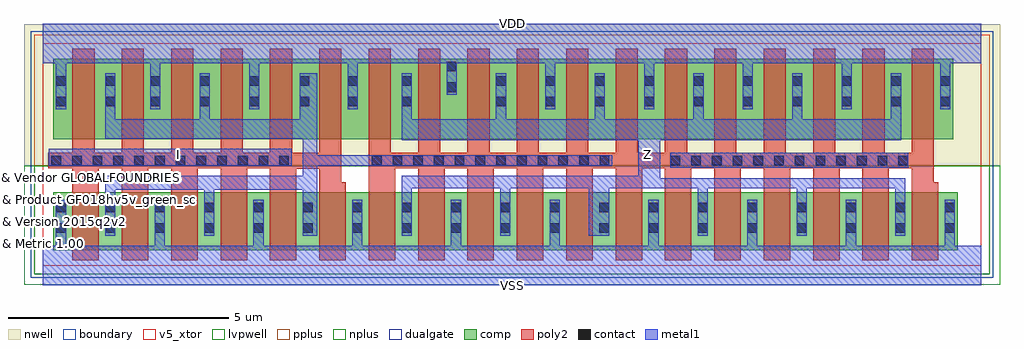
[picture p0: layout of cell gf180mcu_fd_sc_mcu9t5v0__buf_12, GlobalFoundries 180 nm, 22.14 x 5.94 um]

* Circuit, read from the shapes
.subckt gf180mcu_fd_sc_mcu9t5v0__buf_12 I VDD VSS Z
XM1 n1 I VSS VSUBS nfet_05v0 w=1.32u l=0.6u m=6
XM2 Z n1 VSS VSUBS nfet_05v0 w=1.32u l=0.6u m=12
XM3 n1 I VDD n2 pfet_05v0 w=1.83u l=0.5u m=6
XM4 Z n1 VDD n2 pfet_05v0 w=1.83u l=0.5u m=12
.ends

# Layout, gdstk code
import gdstk
lib = gdstk.Library(unit=1e-6, precision=1e-09)
def R(c, l, rs):  # rectangles x0, y0, x1, y1
    for r in rs: c.add(gdstk.rectangle(r[:2], r[2:], *l))
def A(c, l, x, y, w, h, nx, ny, dx, dy):  # array of equal rectangles
    R(c, l, [(x+i*dx, y+j*dy, x+i*dx+w, y+j*dy+h) for i in range(nx) for j in range(ny)])
def P(c, l, *ps):  # polygons
    for p in ps: c.add(gdstk.Polygon(p, *l))
boundary = (0, 0)
nwell = (21, 0)
comp = (22, 0)
poly2 = (30, 0)
pplus = (31, 0)
nplus = (32, 0)
contact = (33, 0)
metal1 = (34, 0)
dualgate = (55, 0)
v5_xtor = (112, 1)
lvpwell = (204, 0)

gf180mcu_fd_sc_mcu9t5v0_ = lib.new_cell('gf180mcu_fd_sc_mcu9t5v0__buf_12')
R(gf180mcu_fd_sc_mcu9t5v0_, boundary, [(0,0,21.28,5.04)])
R(gf180mcu_fd_sc_mcu9t5v0_, nwell, [(-0.43,2.265,21.71,5.47)])
R(gf180mcu_fd_sc_mcu9t5v0_, comp, [(0.23,0.345,20.75,1.665), (0.23,2.865,20.65,4.695)])
P(gf180mcu_fd_sc_mcu9t5v0_, poly2, [(0.67,0.125),(0.67,2.205),(0.12,2.205),(0.12,2.565),(0.67,2.565),(0.67,4.915),(1.17,4.915),(1.17,2.565),(1.79,2.565),(1.79,4.915),(2.29,4.915),(2.29,2.565),(2.91,2.565),(2.91,4.915),(3.41,4.915),(3.41,2.565),(4.03,2.565),(4.03,4.915),(4.53,4.915),(4.53,2.565),(5.15,2.565),(5.15,4.915),(5.65,4.915),(5.65,2.565),(6.27,2.565),(6.27,4.915),(6.77,4.915),(6.77,1.885),(6.87,1.885),(6.87,0.125),(6.27,0.125),(6.27,2.195),(5.75,2.195),(5.75,0.125),(5.15,0.125),(5.15,2.205),(4.63,2.205),(4.63,0.125),(4.03,0.125),(4.03,2.205),(3.51,2.205),(3.51,0.125),(2.91,0.125),(2.91,2.205),(2.39,2.205),(2.39,0.125),(1.79,0.125),(1.79,2.205),(1.27,2.205),(1.27,0.125)],
  [(7.39,0.125),(7.39,4.915),(7.89,4.915),(7.89,2.565),(8.51,2.565),(8.51,4.915),(9.01,4.915),(9.01,2.565),(9.63,2.565),(9.63,4.915),(10.13,4.915),(10.13,2.565),(10.75,2.565),(10.75,4.915),(11.25,4.915),(11.25,2.565),(11.87,2.565),(11.87,4.915),(12.37,4.915),(12.37,2.565),(12.99,2.565),(12.99,4.915),(13.49,4.915),(13.49,2.555),(14.11,2.555),(14.11,4.915),(14.61,4.915),(14.61,2.565),(15.23,2.565),(15.23,4.915),(15.73,4.915),(15.73,2.565),(16.35,2.565),(16.35,4.915),(16.85,4.915),(16.85,2.565),(17.47,2.565),(17.47,4.915),(17.97,4.915),(17.97,2.565),(18.59,2.565),(18.59,4.915),(19.09,4.915),(19.09,2.565),(19.71,2.565),(19.71,4.915),(20.21,4.915),(20.21,1.885),(20.31,1.885),(20.31,0.125),(19.71,0.125),(19.71,2.205),(19.19,2.205),(19.19,0.125),(18.59,0.125),(18.59,2.205),(18.07,2.205),(18.07,0.125),(17.47,0.125),(17.47,2.205),(16.95,2.205),(16.95,0.125),(16.35,0.125),(16.35,2.205),(15.83,2.205),(15.83,0.125),(15.23,0.125),(15.23,2.205),(14.71,2.205),(14.71,0.125),(14.11,0.125),(14.11,2.205),(13.59,2.205),(13.59,0.125),(12.99,0.125),(12.99,2.205),(12.47,2.205),(12.47,0.125),(11.87,0.125),(11.87,2.205),(11.35,2.205),(11.35,0.125),(10.75,0.125),(10.75,2.205),(10.23,2.205),(10.23,0.125),(9.63,0.125),(9.63,2.205),(9.11,2.205),(9.11,0.125),(8.51,0.125),(8.51,2.205),(7.99,2.205),(7.99,0.125)])
R(gf180mcu_fd_sc_mcu9t5v0_, pplus, [(-0.2,2.265,21.48,5.24)])
R(gf180mcu_fd_sc_mcu9t5v0_, nplus, [(-0.2,-0.2,21.48,2.265)])
A(gf180mcu_fd_sc_mcu9t5v0_, contact, 0.3, 0.74, 0.22, 0.22, 19, 2, 1.12, 0.47)
A(gf180mcu_fd_sc_mcu9t5v0_, contact, 0.19, 2.275, 0.22, 0.22, 12, 1, 0.47, 0)
A(gf180mcu_fd_sc_mcu9t5v0_, contact, 7.46, 2.275, 0.22, 0.22, 12, 1, 0.47, 0)
A(gf180mcu_fd_sc_mcu9t5v0_, contact, 14.235, 2.275, 0.22, 0.22, 12, 1, 0.47, 0)
A(gf180mcu_fd_sc_mcu9t5v0_, contact, 2.44, 3.61, 0.22, 0.22, 3, 2, 1.12, 0.47)
A(gf180mcu_fd_sc_mcu9t5v0_, contact, 10.28, 3.61, 0.22, 0.22, 10, 2, 1.12, 0.47)
R(gf180mcu_fd_sc_mcu9t5v0_, contact, [(0.3,3.61,0.52,3.83), (1.42,3.61,1.64,3.83), (5.825,3.61,6.045,3.83), (6.92,3.61,7.14,3.83), (8.14,3.61,8.36,3.83), (9.16,3.935,9.38,4.155), (0.3,4.08,0.52,4.3), (1.42,4.08,1.64,4.3), (5.825,4.08,6.045,4.3), (6.92,4.08,7.14,4.3), (8.14,4.08,8.36,4.3), (9.16,4.405,9.38,4.625)])
R(gf180mcu_fd_sc_mcu9t5v0_, metal1, [(14.23,2.215,19.63,2.555), (0.13,2.27,5.64,2.65)])
P(gf180mcu_fd_sc_mcu9t5v0_, metal1, [(1.415,0.68),(1.415,2.04),(5.895,2.04),(5.895,2.88),(1.415,2.88),(1.415,4.36),(1.645,4.36),(1.645,3.32),(3.555,3.32),(3.555,4.36),(3.785,4.36),(3.785,3.32),(5.82,3.32),(5.82,4.36),(6.225,4.36),(6.225,2.5),(12.91,2.5),(12.91,2.27),(6.225,2.27),(6.225,0.68),(5.895,0.68),(5.895,1.72),(3.885,1.72),(3.885,0.68),(3.655,0.68),(3.655,1.72),(1.645,1.72),(1.645,0.68)],
  [(8.135,0.68),(8.135,2.04),(13.5,2.04),(13.5,2.84),(8.135,2.84),(8.135,4.36),(8.365,4.36),(8.365,3.32),(10.275,3.32),(10.275,4.36),(10.505,4.36),(10.505,3.32),(12.515,3.32),(12.515,4.36),(12.745,4.36),(12.745,3.32),(14.755,3.32),(14.755,4.36),(14.985,4.36),(14.985,3.32),(16.995,3.32),(16.995,4.36),(17.225,4.36),(17.225,3.32),(19.235,3.32),(19.235,4.36),(19.465,4.36),(19.465,2.84),(14,2.84),(14,1.985),(19.565,1.985),(19.565,0.68),(19.335,0.68),(19.335,1.755),(17.325,1.755),(17.325,0.68),(17.095,0.68),(17.095,1.755),(15.085,1.755),(15.085,0.68),(14.855,0.68),(14.855,1.755),(12.845,1.755),(12.845,0.68),(12.385,0.68),(12.385,1.755),(10.605,1.755),(10.605,0.68),(10.375,0.68),(10.375,1.755),(8.365,1.755),(8.365,0.68)],
  [(0,-0.45),(0,0.45),(0.295,0.45),(0.295,1.49),(0.525,1.49),(0.525,0.45),(2.535,0.45),(2.535,1.49),(2.765,1.49),(2.765,0.45),(4.775,0.45),(4.775,1.49),(5.005,1.49),(5.005,0.45),(7.015,0.45),(7.015,1.49),(7.245,1.49),(7.245,0.45),(9.255,0.45),(9.255,1.49),(9.485,1.49),(9.485,0.45),(11.495,0.45),(11.495,1.49),(11.725,1.49),(11.725,0.45),(13.735,0.45),(13.735,1.49),(13.965,1.49),(13.965,0.45),(15.975,0.45),(15.975,1.49),(16.205,1.49),(16.205,0.45),(18.215,0.45),(18.215,1.49),(18.445,1.49),(18.445,0.45),(20.455,0.45),(20.455,1.49),(20.685,1.49),(20.685,0.45),(21.28,0.45),(21.28,-0.45)],
  [(0.295,3.55),(0.295,4.59),(0,4.59),(0,5.49),(21.28,5.49),(21.28,4.59),(20.585,4.59),(20.585,3.55),(20.355,3.55),(20.355,4.59),(18.345,4.59),(18.345,3.55),(18.115,3.55),(18.115,4.59),(16.105,4.59),(16.105,3.55),(15.875,3.55),(15.875,4.59),(13.865,4.59),(13.865,3.55),(13.635,3.55),(13.635,4.59),(11.625,4.59),(11.625,3.55),(11.395,3.55),(11.395,4.59),(9.385,4.59),(9.385,3.875),(9.155,3.875),(9.155,4.59),(7.145,4.59),(7.145,3.55),(6.915,3.55),(6.915,4.59),(4.905,4.59),(4.905,3.55),(4.675,3.55),(4.675,4.59),(2.665,4.59),(2.665,3.55),(2.435,3.55),(2.435,4.59),(0.525,4.59),(0.525,3.55)])
R(gf180mcu_fd_sc_mcu9t5v0_, dualgate, [(-0.28,-0.28,21.56,5.32)])
R(gf180mcu_fd_sc_mcu9t5v0_, v5_xtor, [(0,0,21.28,5.04)])
R(gf180mcu_fd_sc_mcu9t5v0_, lvpwell, [(-0.43,-0.43,21.71,2.265)])
gf180mcu_fd_sc_mcu9t5v0_.add(gdstk.Label('I', (3.08,2.52), layer=34, texttype=10))
gf180mcu_fd_sc_mcu9t5v0_.add(gdstk.Label('VDD', (10.64,5.49), layer=34, texttype=10))
gf180mcu_fd_sc_mcu9t5v0_.add(gdstk.Label('VSS', (10.64,-0.45), layer=34, texttype=10))
gf180mcu_fd_sc_mcu9t5v0_.add(gdstk.Label('Z', (13.72,2.52), layer=34, texttype=10))
gf180mcu_fd_sc_mcu9t5v0_.add(gdstk.Label('& Vendor GLOBALFOUNDRIES', (0,2), layer=63, texttype=63))
gf180mcu_fd_sc_mcu9t5v0_.add(gdstk.Label('& Product GF018hv5v_green_sc9', (0,1.5), layer=63, texttype=63))
gf180mcu_fd_sc_mcu9t5v0_.add(gdstk.Label('& Version 2015q2v2', (0,1), layer=63, texttype=63))
gf180mcu_fd_sc_mcu9t5v0_.add(gdstk.Label('& Metric 1.00', (0,0.5), layer=63, texttype=63))

lib.write_gds('gf180mcu_fd_sc_mcu9t5v0__buf_12.gds')
